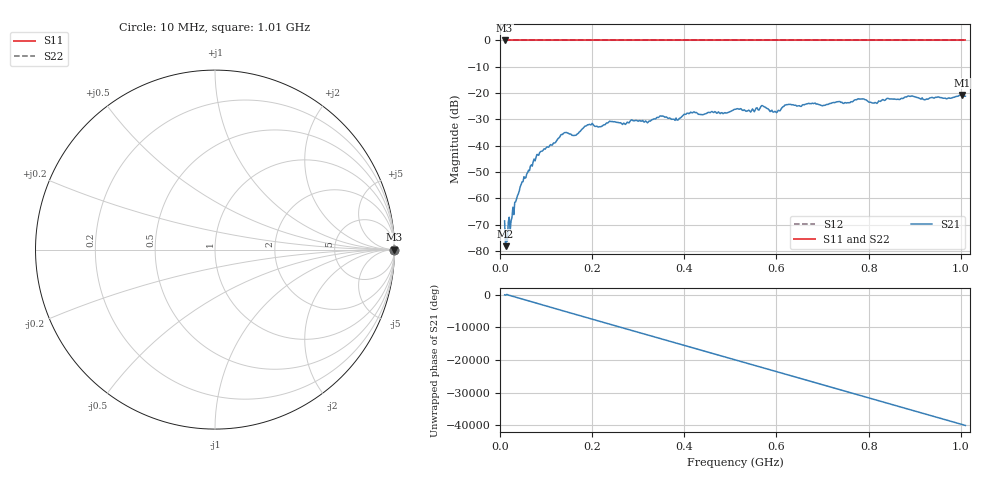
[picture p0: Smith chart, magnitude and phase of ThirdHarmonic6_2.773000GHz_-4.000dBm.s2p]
! 8/17/2025 7:03:54 AM
! C:\ANRITSUVNA\TEMP\TEMP.S2P
! CHANNEL.1
! TR.MEASUREMENT
! RAW.DATA
! RF.CORRECTION.OFF
! AVERAGING.OFF
! IF.BANDWIDTH: 5KHZ
! SWEEPTYPE:  FREQ.SWEEP(Linear)
! Reference Plane Port Info
! PORT:  PORT1  PORT2
! DISTANCE:  0  m  0  m
! TIME:  0  s  0  s
! PHASE.OFFSET:  0  deg.  0  deg.
! LOSS:  0  dB  0  dB
! REF.LOSS:  0  dB  0  dB
! REF.FREQ:  0  Hz  0  Hz
! Power Info
! POWER:  -20  dBm  -20  dBm
! EFF.POWER:  -20  dBm  -20  dBm
! SOURCE.ATTEN:  0  dB  0  dB
! TEST.ATTEN:  0  dB  0  dB
# GHZ S RI R 50.0
! FREQ.GHZ  S11RE  S11IM  S21RE  S21IM  S12RE  S12IM  S22RE  S22IM
!; PortSelection: Port_12
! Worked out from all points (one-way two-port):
!   501 points, 10 MHz to 1.01 GHz, reference 50 ohm
!   highest |S21| = -20.68 dB at 1.002 GHz (marker M1); lowest = -78.2 dB at 12 MHz (marker M2)
!   lowest |S11| = 0.0 dB at 10 MHz (marker M3)
!   |S11| at or under -10 dB: nowhere
!   |S22| runs from 0.0 to 0.0 dB; largest |S21 - S12| = 1.1
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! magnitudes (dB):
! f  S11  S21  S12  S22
! 10 MHz  0.0  -68.5  0.0  0.0
! 12 MHz  0.0  -78.2  0.0  0.0
! 16 MHz  0.0  -76.2  0.0  0.0
! 48 MHz  0.0  -53.7  0.0  0.0
! 78 MHz  0.0  -44.6  0.0  0.0
! 136 MHz  0.0  -35.7  0.0  0.0
! 162 MHz  0.0  -36.1  0.0  0.0
! 178 MHz  0.0  -33.7  0.0  0.0
! 196 MHz  0.0  -32.0  0.0  0.0
! 322 MHz  0.0  -30.9  0.0  0.0
! 344 MHz  0.0  -29.3  0.0  0.0
! 384 MHz  0.0  -30.2  0.0  0.0
! 418 MHz  0.0  -27.5  0.0  0.0
! 510 MHz  0.0  -26.2  0.0  0.0
! 570 MHz  0.0  -24.8  0.0  0.0
! 598 MHz  0.0  -27.0  0.0  0.0
! 622 MHz  0.0  -24.4  0.0  0.0
! 678 MHz  0.0  -23.8  0.0  0.0
! 814 MHz  0.0  -23.5  0.0  0.0
! 844 MHz  0.0  -22.1  0.0  0.0
! 1.002 GHz  0.0  -20.7  0.0  0.0
! 1.01 GHz  0.0  -21.2  0.0  0.0
